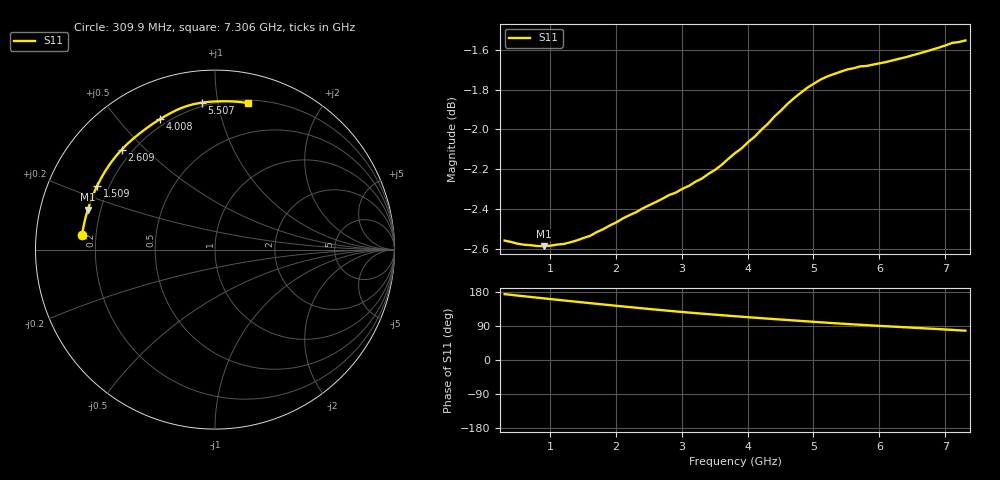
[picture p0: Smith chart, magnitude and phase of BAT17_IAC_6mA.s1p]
! Infineon Technologies  Discrete & RF Semiconductors
! BAT17
! IAC = 6 mA
! One-Port S-Parameters
# Hz  S  MA  R  50
!f  S11
!Hz  Mag  Ang
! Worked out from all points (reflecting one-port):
!   71 points, 309.9 MHz to 7.306 GHz, reference 50 ohm
!   lowest |S11| = -2.6 dB at 909.5 MHz (marker M1), VSWR 6.77, Z = 7.55 + j7.49 ohm
!   phase of S11 starts at 174 deg and turns -96 deg over the sweep
!   S11 on the Smith chart (normalised r, x): 309.9 MHz: 0.15, +0.05; 1.509 GHz: 0.15, +0.25; 2.609 GHz: 0.16, +0.43; 4.008 GHz: 0.17, +0.65; 5.507 GHz: 0.18, +0.90; 7.306 GHz: 0.23, +1.22
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3.0985e8  0.745 173.8
6.097e8  0.7432 168.1
9.0955e8  0.7426 162.6
1.0095e9  0.7429 160.7
1.2094e9  0.7436 157.1
1.50925e9  0.7462 151.8
1.8091e9  0.75 146.5
2.10895e9  0.7547 141.3
2.4088e9  0.759 136.3
2.6087e9  0.7618 133.0
2.70865e9  0.7633 131.3
3.0085e9  0.7676 126.7
3.2084e9  0.7708 123.7
3.4083e9  0.7743 120.9
3.8081e9  0.7836 115.5
4.008e9  0.7886 112.9
4.4078e9  0.8003 107.9
4.70765e9  0.8089 104.3
4.90755e9  0.8137 101.9
5.10745e9  0.8175 99.5
5.50725e9  0.8223 95.1
5.6072e9  0.8229 94.0
6.007e9  0.8252 90.0
6.50675e9  0.8291 85.3
6.90655e9  0.8327 81.5
7.0065e9  0.8338 80.4
7.10645e9  0.835 79.5
7.30635e9  0.8362 77.4
